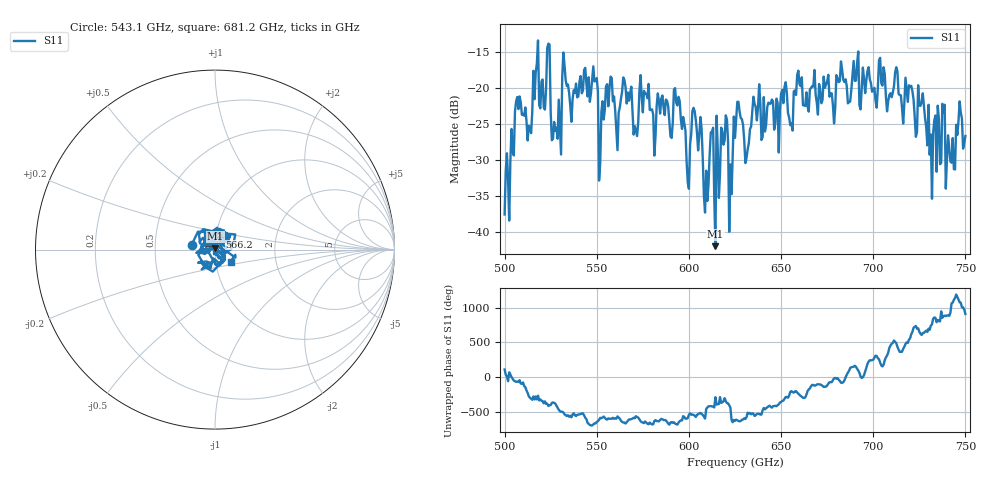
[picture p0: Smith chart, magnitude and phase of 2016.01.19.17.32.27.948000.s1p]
!Created with skrf (http://scikit-rf.org).
# GHz S RI R 50.0
!freq ReS11 ImS11
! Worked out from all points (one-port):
!   401 points, 500 GHz to 750 GHz, reference 50 ohm
!   lowest |S11| = -42.0 dB at 614.4 GHz (marker M1), VSWR 1.02, Z = 50.3 + j0.755 ohm
!   |S11| at or under -10 dB: start of sweep to end of sweep
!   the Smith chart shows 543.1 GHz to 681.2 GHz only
!   S11 on the Smith chart (normalised r, x): 543.1 GHz: 0.77, +0.04; 566.2 GHz: 1.05, +0.15; 681.2 GHz: 1.18, -0.16
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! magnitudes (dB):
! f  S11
! 500 GHz  -37.6
! 506.9 GHz  -21.3
! 513.8 GHz  -25.4
! 516.9 GHz  -17.8
! 523.8 GHz  -13.9
! 526.9 GHz  -24.7
! 531.2 GHz  -18.6
! 543.1 GHz  -17.5
! 549.4 GHz  -19.1
! 552.5 GHz  -23.3
! 556.9 GHz  -20.1
! 562.5 GHz  -22.7
! 566.2 GHz  -22.2
! 571.2 GHz  -26.0
! 593.8 GHz  -22.4
! 599.4 GHz  -33.1
! 603.1 GHz  -23.2
! 609.4 GHz  -31.5
! 614.4 GHz  -42.0
! 619.4 GHz  -27.3
! 622.5 GHz  -30.6
! 625 GHz  -26.9
! 656.2 GHz  -25.9
! 681.2 GHz  -19.2
! 687.5 GHz  -21.9
! 718.8 GHz  -22.0
! 730.6 GHz  -29.3
! 750 GHz  -26.7
